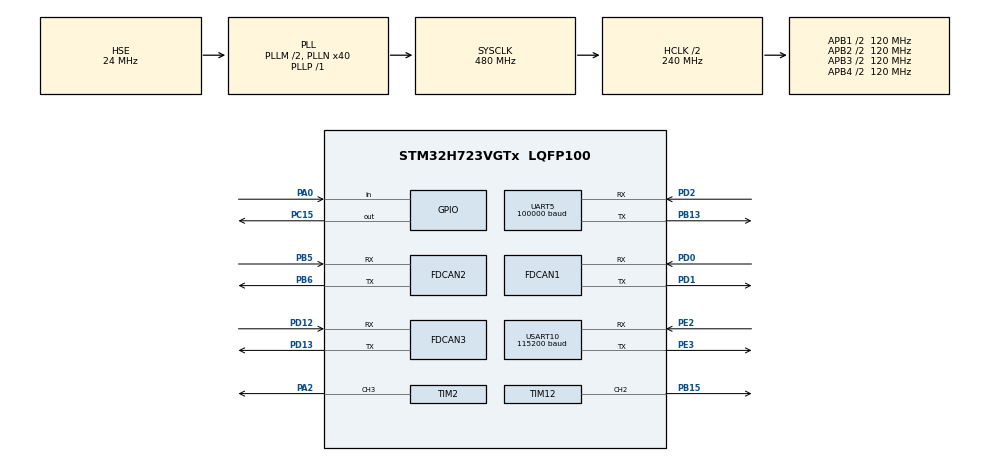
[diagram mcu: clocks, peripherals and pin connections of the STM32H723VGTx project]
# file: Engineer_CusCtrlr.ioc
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CORTEX_M7.default_mode_Activation=0
Dma.Request0=USART10_RX
Dma.Request1=USART10_TX
Dma.Request2=TIM2_CH3
Dma.Request3=UART5_RX
Dma.Request4=UART5_TX
Dma.TIM2_CH3.2.Direction=DMA_MEMORY_TO_PERIPH
Dma.TIM2_CH3.2.EventEnable=DISABLE
Dma.TIM2_CH3.2.FIFOMode=DMA_FIFOMODE_DISABLE
Dma.TIM2_CH3.2.Instance=DMA1_Stream0
Dma.TIM2_CH3.2.MemDataAlignment=DMA_MDATAALIGN_HALFWORD
Dma.TIM2_CH3.2.MemInc=DMA_MINC_ENABLE
Dma.TIM2_CH3.2.Mode=DMA_NORMAL
Dma.TIM2_CH3.2.PeriphDataAlignment=DMA_PDATAALIGN_HALFWORD
Dma.TIM2_CH3.2.PeriphInc=DMA_PINC_DISABLE
Dma.TIM2_CH3.2.Polarity=HAL_DMAMUX_REQ_GEN_RISING
Dma.TIM2_CH3.2.Priority=DMA_PRIORITY_VERY_HIGH
Dma.TIM2_CH3.2.RequestNumber=1
Dma.TIM2_CH3.2.SignalID=NONE
Dma.TIM2_CH3.2.SyncEnable=DISABLE
Dma.TIM2_CH3.2.SyncPolarity=HAL_DMAMUX_SYNC_NO_EVENT
Dma.TIM2_CH3.2.SyncRequestNumber=1
Dma.TIM2_CH3.2.SyncSignalID=NONE
Dma.UART5_RX.3.Direction=DMA_PERIPH_TO_MEMORY
Dma.UART5_RX.3.EventEnable=DISABLE
Dma.UART5_RX.3.FIFOMode=DMA_FIFOMODE_DISABLE
Dma.UART5_RX.3.Instance=DMA1_Stream1
Dma.UART5_RX.3.MemDataAlignment=DMA_MDATAALIGN_BYTE
Dma.UART5_RX.3.MemInc=DMA_MINC_ENABLE
Dma.UART5_RX.3.Mode=DMA_CIRCULAR
Dma.UART5_RX.3.PeriphDataAlignment=DMA_PDATAALIGN_BYTE
Dma.UART5_RX.3.PeriphInc=DMA_PINC_DISABLE
Dma.UART5_RX.3.Polarity=HAL_DMAMUX_REQ_GEN_RISING
Dma.UART5_RX.3.Priority=DMA_PRIORITY_HIGH
Dma.UART5_RX.3.RequestNumber=1
Dma.UART5_RX.3.SignalID=NONE
Dma.UART5_RX.3.SyncEnable=DISABLE
Dma.UART5_RX.3.SyncPolarity=HAL_DMAMUX_SYNC_NO_EVENT
Dma.UART5_RX.3.SyncRequestNumber=1
Dma.UART5_RX.3.SyncSignalID=NONE
Dma.UART5_TX.4.Direction=DMA_MEMORY_TO_PERIPH
Dma.UART5_TX.4.EventEnable=DISABLE
Dma.UART5_TX.4.FIFOMode=DMA_FIFOMODE_DISABLE
Dma.UART5_TX.4.Instance=DMA1_Stream2
Dma.UART5_TX.4.MemDataAlignment=DMA_MDATAALIGN_BYTE
Dma.UART5_TX.4.MemInc=DMA_MINC_ENABLE
Dma.UART5_TX.4.Mode=DMA_NORMAL
Dma.UART5_TX.4.PeriphDataAlignment=DMA_PDATAALIGN_BYTE
Dma.UART5_TX.4.PeriphInc=DMA_PINC_DISABLE
Dma.UART5_TX.4.Polarity=HAL_DMAMUX_REQ_GEN_RISING
Dma.UART5_TX.4.Priority=DMA_PRIORITY_HIGH
Dma.UART5_TX.4.RequestNumber=1
Dma.UART5_TX.4.SignalID=NONE
Dma.UART5_TX.4.SyncEnable=DISABLE
Dma.UART5_TX.4.SyncPolarity=HAL_DMAMUX_SYNC_NO_EVENT
Dma.UART5_TX.4.SyncRequestNumber=1
Dma.UART5_TX.4.SyncSignalID=NONE
Dma.USART10_RX.0.Direction=DMA_PERIPH_TO_MEMORY
Dma.USART10_RX.0.EventEnable=DISABLE
Dma.USART10_RX.0.FIFOMode=DMA_FIFOMODE_DISABLE
Dma.USART10_RX.0.Instance=DMA1_Stream4
Dma.USART10_RX.0.MemDataAlignment=DMA_MDATAALIGN_BYTE
Dma.USART10_RX.0.MemInc=DMA_MINC_ENABLE
Dma.USART10_RX.0.Mode=DMA_CIRCULAR
Dma.USART10_RX.0.PeriphDataAlignment=DMA_PDATAALIGN_BYTE
Dma.USART10_RX.0.PeriphInc=DMA_PINC_DISABLE
Dma.USART10_RX.0.Polarity=HAL_DMAMUX_REQ_GEN_RISING
Dma.USART10_RX.0.Priority=DMA_PRIORITY_HIGH
Dma.USART10_RX.0.RequestNumber=1
Dma.USART10_RX.0.SignalID=NONE
Dma.USART10_RX.0.SyncEnable=DISABLE
Dma.USART10_RX.0.SyncPolarity=HAL_DMAMUX_SYNC_NO_EVENT
Dma.USART10_RX.0.SyncRequestNumber=1
Dma.USART10_RX.0.SyncSignalID=NONE
Dma.USART10_TX.1.Direction=DMA_MEMORY_TO_PERIPH
Dma.USART10_TX.1.EventEnable=DISABLE
Dma.USART10_TX.1.FIFOMode=DMA_FIFOMODE_DISABLE
Dma.USART10_TX.1.Instance=DMA1_Stream3
Dma.USART10_TX.1.MemDataAlignment=DMA_MDATAALIGN_BYTE
Dma.USART10_TX.1.MemInc=DMA_MINC_ENABLE
Dma.USART10_TX.1.Mode=DMA_NORMAL
Dma.USART10_TX.1.PeriphDataAlignment=DMA_PDATAALIGN_BYTE
Dma.USART10_TX.1.PeriphInc=DMA_PINC_DISABLE
Dma.USART10_TX.1.Polarity=HAL_DMAMUX_REQ_GEN_RISING
Dma.USART10_TX.1.Priority=DMA_PRIORITY_HIGH
Dma.USART10_TX.1.RequestNumber=1
Dma.USART10_TX.1.SignalID=NONE
Dma.USART10_TX.1.SyncEnable=DISABLE
Dma.USART10_TX.1.SyncPolarity=HAL_DMAMUX_SYNC_NO_EVENT
Dma.USART10_TX.1.SyncRequestNumber=1
Dma.USART10_TX.1.SyncSignalID=NONE
FDCAN1.CalculateBaudRateNominal=1000000
FDCAN1.CalculateTimeBitNominal=1000
FDCAN1.CalculateTimeQuantumNominal=12.5
FDCAN1.DataSyncJumpWidth=2
FDCAN1.DataTimeSeg1=13
FDCAN1.DataTimeSeg2=2
FDCAN1.ExtFiltersNbr=4
FDCAN1.NominalPrescaler=1
FDCAN1.NominalSyncJumpWidth=20
FDCAN1.NominalTimeSeg1=59
FDCAN1.NominalTimeSeg2=20
FDCAN1.RxBuffersNbr=2
FDCAN1.RxFifo0ElmtsNbr=8
FDCAN1.RxFifo1ElmtsNbr=8
FDCAN1.StdFiltersNbr=4
FDCAN1.TxBuffersNbr=8
FDCAN1.TxEventsNbr=8
FDCAN1.TxFifoQueueElmtsNbr=8
FDCAN2.CalculateBaudRateNominal=1000000
FDCAN2.CalculateTimeBitNominal=1000
FDCAN2.CalculateTimeQuantumNominal=12.5
FDCAN2.DataSyncJumpWidth=2
FDCAN2.DataTimeSeg1=13
FDCAN2.ExtFiltersNbr=4
FDCAN2.MessageRAMOffset=0x406
FDCAN2.NominalPrescaler=1
FDCAN2.NominalSyncJumpWidth=20
FDCAN2.NominalTimeSeg1=59
FDCAN2.NominalTimeSeg2=20
FDCAN2.RxBuffersNbr=3
FDCAN2.RxFifo0ElmtsNbr=8
FDCAN2.RxFifo1ElmtsNbr=8
FDCAN2.StdFiltersNbr=4
FDCAN2.TxBuffersNbr=8
FDCAN2.TxEventsNbr=8
FDCAN2.TxFifoQueueElmtsNbr=8
FDCAN3.CalculateBaudRateNominal=1000000
FDCAN3.CalculateTimeBitNominal=1000
FDCAN3.CalculateTimeQuantumNominal=12.5
FDCAN3.DataSyncJumpWidth=2
FDCAN3.DataTimeSeg1=13
FDCAN3.DataTimeSeg2=2
FDCAN3.ExtFiltersNbr=4
FDCAN3.MessageRAMOffset=0x812
FDCAN3.NominalPrescaler=1
FDCAN3.NominalSyncJumpWidth=20
FDCAN3.NominalTimeSeg1=59
FDCAN3.NominalTimeSeg2=20
FDCAN3.RxBuffersNbr=2
FDCAN3.RxFifo0ElmtsNbr=8
FDCAN3.RxFifo1ElmtsNbr=8
FDCAN3.StdFiltersNbr=4
FDCAN3.TxBuffersNbr=8
FDCAN3.TxEventsNbr=8
FDCAN3.TxFifoQueueElmtsNbr=8
FREERTOS.INCLUDE_eTaskGetState=1
FREERTOS.INCLUDE_vTaskDelayUntil=1
FREERTOS.Tasks01=defaultTask,0,128,Task_Init,As weak,NULL,Dynamic,NULL,NULL
Mcu.Family=STM32H7
Mcu.Name=STM32H723VGTx
Mcu.Package=LQFP100
NVIC.DMA1_Stream0_IRQn=true\:5\:0\:false\:false\:true\:true\:false\:true\:true
NVIC.DMA1_Stream1_IRQn=true\:5\:0\:false\:false\:true\:true\:false\:true\:true
NVIC.DMA1_Stream2_IRQn=true\:5\:0\:false\:false\:true\:true\:false\:true\:true
NVIC.DMA1_Stream3_IRQn=true\:5\:0\:false\:false\:true\:true\:false\:true\:true
NVIC.DMA1_Stream4_IRQn=true\:5\:0\:false\:false\:true\:true\:false\:true\:true
NVIC.FDCAN1_IT0_IRQn=true\:5\:0\:false\:false\:true\:true\:true\:true\:true
NVIC.FDCAN1_IT1_IRQn=true\:5\:0\:false\:false\:true\:true\:true\:true\:true
NVIC.FDCAN2_IT0_IRQn=true\:5\:0\:false\:false\:true\:true\:true\:true\:true
NVIC.FDCAN2_IT1_IRQn=true\:5\:0\:false\:false\:true\:true\:true\:true\:true
NVIC.FDCAN3_IT0_IRQn=true\:5\:0\:false\:false\:true\:true\:true\:true\:true
NVIC.FDCAN3_IT1_IRQn=true\:5\:0\:false\:false\:true\:true\:true\:true\:true
NVIC.PriorityGroup=NVIC_PRIORITYGROUP_4
NVIC.TIM1_UP_IRQn=true\:0\:0\:true\:false\:true\:false\:false\:true\:true
NVIC.TimeBase=TIM1_UP_IRQn
NVIC.TimeBaseIP=TIM1
NVIC.UART5_IRQn=true\:5\:0\:false\:false\:true\:true\:true\:true\:true
NVIC.USART10_IRQn=true\:5\:0\:false\:false\:true\:true\:false\:true\:true
PA0.GPIO_PuPd=GPIO_PULLDOWN
PA0.Signal=GPIO_Input
PA13(JTMS/SWDIO).Mode=Serial_Wire
PA13(JTMS/SWDIO).Signal=DEBUG_JTMS-SWDIO
PA14(JTCK/SWCLK).Mode=Serial_Wire
PA14(JTCK/SWCLK).Signal=DEBUG_JTCK-SWCLK
PA2.GPIO_ModeDefaultPP=GPIO_MODE_AF_PP
PA2.GPIO_PuPd=GPIO_PULLUP
PA2.GPIO_Speed=GPIO_SPEED_FREQ_HIGH
PA2.Signal=S_TIM2_CH3
PB13.Mode=Asynchronous
PB13.Signal=UART5_TX
PB15.Signal=S_TIM12_CH2
PB5.Mode=FDCAN_Activate
PB5.Signal=FDCAN2_RX
PB6.Mode=FDCAN_Activate
PB6.Signal=FDCAN2_TX
PC15-OSC32_OUT.PinState=GPIO_PIN_SET
PC15-OSC32_OUT.Signal=GPIO_Output
PD0.Mode=FDCAN_Activate
PD0.Signal=FDCAN1_RX
PD1.Mode=FDCAN_Activate
PD1.Signal=FDCAN1_TX
PD12.Mode=FDCAN_Activate
PD12.Signal=FDCAN3_RX
PD13.Mode=FDCAN_Activate
PD13.Signal=FDCAN3_TX
PD2.Mode=Asynchronous
PD2.Signal=UART5_RX
PE2.Mode=Asynchronous
PE2.Signal=USART10_RX
PE3.Mode=Asynchronous
PE3.Signal=USART10_TX
PH0-OSC_IN.Mode=HSE-External-Oscillator
PH0-OSC_IN.Signal=RCC_OSC_IN
PH1-OSC_OUT.Mode=HSE-External-Oscillator
PH1-OSC_OUT.Signal=RCC_OSC_OUT
ProjectManager.HeapSize=0x200
ProjectManager.StackSize=0x400
ProjectManager.TargetToolchain=MDK-ARM V5.32
RCC.ADCFreq_Value=48375000
RCC.APB1Freq_Value=120000000
RCC.APB2Freq_Value=120000000
RCC.APB3Freq_Value=120000000
RCC.APB4Freq_Value=120000000
RCC.CortexFreq_Value=480000000
RCC.D1PPRE=RCC_APB3_DIV2
RCC.D2PPRE1=RCC_APB1_DIV2
RCC.D2PPRE2=RCC_APB2_DIV2
RCC.D3PPRE=RCC_APB4_DIV2
RCC.DIVM1=2
RCC.DIVN1=40
RCC.DIVP1=1
RCC.DIVQ1=6
RCC.HCLKFreq_Value=240000000
RCC.HPRE=RCC_HCLK_DIV2
RCC.HSE_VALUE=24000000
RCC.PLL2FRACN=0
RCC.PLL3FRACN=0
RCC.PLLFRACN=0
RCC.PLLSourceVirtual=RCC_PLLSOURCE_HSE
RCC.SYSCLKFreq_VALUE=480000000
RCC.SYSCLKSource=RCC_SYSCLKSOURCE_PLLCLK
RCC.USBFreq_Value=80000000
SH.S_TIM12_CH2.0=TIM12_CH2,PWM Generation2 CH2
SH.S_TIM2_CH3.0=TIM2_CH3,PWM Generation3 CH3
TIM12.Channel-PWM\ Generation2\ CH2=TIM_CHANNEL_2
TIM12.Period=599
TIM12.Prescaler=23
TIM2.AutoReloadPreload=TIM_AUTORELOAD_PRELOAD_DISABLE
TIM2.Channel-PWM\ Generation3\ CH3=TIM_CHANNEL_3
TIM2.ClockDivision=TIM_CLOCKDIVISION_DIV1
TIM2.Period=299
UART5.BaudRate=100000
UART5.DataInvertParam=UART_ADVFEATURE_DATAINV_ENABLE
UART5.Parity=PARITY_EVEN
USART10.BaudRate=115200
USART10.DataInvertParam=ADVFEATURE_DATAINV_DISABLE
USART10.OverrunDisableParam=ADVFEATURE_OVERRUN_DISABLE
USART10.Parity=PARITY_NONE
USART10.VirtualMode=VM_ASYNC
VP_FREERTOS_VS_CMSIS_V2.Mode=CMSIS_V2
VP_MEMORYMAP_VS_MEMORYMAP.Mode=CurAppReg
VP_SYS_VS_tim1.Mode=TIM1
VP_TIM2_VS_ClockSourceINT.Mode=Internal
board=custom

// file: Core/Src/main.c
/* USER CODE BEGIN Header */
/**
  ******************************************************************************
  * @file           : main.c
  * @brief          : Main program body
  ******************************************************************************
  * @attention
  *
  * Copyright (c) 2026 STMicroelectronics.
  * All rights reserved.
  *
  * This software is licensed under terms that can be found in the LICENSE file
  * in the root directory of this software component.
  * If no LICENSE file comes with this software, it is provided AS-IS.
  *
  ******************************************************************************
  */
/* USER CODE END Header */
#include "main.h"
#include "FreeRTOS.h"
#include "cmsis_os2.h"
#include "dma.h"
#include "fdcan.h"
#include "tim.h"
#include "usart.h"
#include "gpio.h"

/* USER CODE BEGIN Includes */
#include "DJI_Motor.h"
#include "DM_driver.h"
#include "Motor.h"
#include "PID.h"
#include "Task_Can.h"
#include "User_CAN.h"
#include "RemoteControl_Comm.h"
#include "BSP_Init.h"
#include "Debug_Uart.h"

/* USER CODE END Includes */

/* USER CODE BEGIN PV */
/*
pid_type pid = {
  .kp = 20.0f,
  .ki = 0.05f,
  .kd = 0.0f,

  .error[0] = 0.0f,
  .error[1] = 0.0f,
  .error[2] = 0.0f,
  .sum_error = 0.0f,
  .Dbuf[0] = 0.0f,
  .Dbuf[1] = 0.0f,
  .Dbuf[2] = 0.0f,

  .Pout = 0.0f,
  .Iout = 0.0f,
  .Dout = 0.0f,
  .Out = 0.0f,

  .dst = 300.0f,
  .real = 0.0f,

  .MaxIout = 1000.0f,
  .MaxOut = 3000.0f,

  .MaxBlockIount = 1000.0f,
  .DeadZone = 5

};
*/
pid_type WheelPid[4];

static const float WheelPidPara[4][3] = {
  {20.0f, 0.05f, 0.0f},   /* 左前 */
  {20.0f, 0.05f, 0.0f},   /* 左后 */
  {20.0f, 0.05f, 0.0f},   /* 右后 */
  {20.0f, 0.05f, 0.0f},   /* 右前 */
};

/* 机械安装方向：左右镜像安装时，左侧两路取 -1（也可以用 MotortypeRegister 的 REVERSE） */
const int8_t WheelSign[4] = { -1, -1, +1, +1 };
float PID1_PARA[3] = {0.1f, 0.01f, 0.0f};

uint8_t sendmessage[8] = {0};
uint8_t receivemessage[8] = {0};
int16_t out = 100;

/* USER CODE END PV */

void SystemClock_Config(void);
void MX_FREERTOS_Init(void);

int main(void)
{

  /* MCU Configuration--------------------------------------------------------*/

  /* Reset of all peripherals, Initializes the Flash interface and the Systick. */
    HAL_Init();

  /* Configure the system clock */
  SystemClock_Config();

  /* Initialize all configured peripherals */
  MX_GPIO_Init();
  MX_DMA_Init();
  MX_FDCAN1_Init();
  MX_FDCAN2_Init();
  MX_FDCAN3_Init();
  MX_USART10_UART_Init();
  MX_TIM12_Init();
  MX_TIM2_Init();
  MX_UART5_Init();
  /* USER CODE BEGIN 2 */
  BSP_Init();

  /* 调试串口：USART10 / PE3，115200 8N1，非阻塞（队列 + 最低优先级任务） */
  BSP_Init_DebugUart();

#if (DEBUG_UART_ENABLE != 0)
  /*
   * 最小验证：完全绕过队列和任务，直接在 main 里阻塞发一行。
   *   这一行能出来   => 接线 / 波特率 / USART10 初始化都正常，后面的问题在任务侧
   *   这一行也出不来 => 硬件、串口工具或烧写的问题，不用再查代码
   */
  {
    static const char bootMsg[] = "\r\n[boot] USART10 direct write OK\r\n";
    (void)HAL_UART_Transmit(&huart10, (uint8_t *)bootMsg,
                            (uint16_t)(sizeof(bootMsg) - 1U), 100U);
  }
#endif

  CAN_Init(&hfdcan1);

  for (uint8_t i = 0; i < 4; i++)
{
  /* 下标 i 必须等于 CAN ID-1：0x200 第 i 个通道 ↔ Arm_Motor[i] ↔ 电调 ID i+1 */
  MotortypeRegister(&Arm_Motor[i],
                    (WheelSign[i] > 0) ? FORWARD : REVERSE,
                    MOTOR_3508,
                    NULL,
                    NULL,
                    MOTOR3508_Reductionratio,      /* 19 */
                    (uint32_t)(i + 1U),            /* 电机 ID 1~4 */
                    1U,                            /* CAN1 */
                    0.0f, 0.0f, 0.0f,              /* Kp/Ki/Kd：3508 不用 */
                    360.0f, 0.0f);

  /* 速度环：输出限幅 16000（C620 满量程 16384），积分限幅 4000，死区 8 rpm */
  PID_Parameter_Init(&WheelPid[i], PID_POSITION, WheelPidPara[i], 16000.0f, 4000.0f, 8);
}

  /* 遥控接收：USART10 + DMA 双缓冲 + IDLE 空闲中断，必须在 MX_USART10_UART_Init() 之后 */
  BSP_Init_RemoteControl();

  /* USER CODE END 2 */

  /* Init scheduler */
  osKernelInitialize();  /* Call init function for freertos objects (in cmsis_os2.c) */
  MX_FREERTOS_Init();

  /* Start scheduler */
  osKernelStart();

  /* We should never get here as control is now taken by the scheduler */

  /* Infinite loop */
  while (1)
  {

  }
}

void SystemClock_Config(void)
{
  RCC_OscInitTypeDef RCC_OscInitStruct = {0};
  RCC_ClkInitTypeDef RCC_ClkInitStruct = {0};

  /** Supply configuration update enable
  */
  HAL_PWREx_ConfigSupply(PWR_LDO_SUPPLY);

  /** Configure the main internal regulator output voltage
  */
  __HAL_PWR_VOLTAGESCALING_CONFIG(PWR_REGULATOR_VOLTAGE_SCALE0);

  while(!__HAL_PWR_GET_FLAG(PWR_FLAG_VOSRDY)) {}

  /** Initializes the RCC Oscillators according to the specified parameters
  * in the RCC_OscInitTypeDef structure.
  */
  RCC_OscInitStruct.OscillatorType = RCC_OSCILLATORTYPE_HSE;
  RCC_OscInitStruct.HSEState = RCC_HSE_ON;
  RCC_OscInitStruct.PLL.PLLState = RCC_PLL_ON;
  RCC_OscInitStruct.PLL.PLLSource = RCC_PLLSOURCE_HSE;
  RCC_OscInitStruct.PLL.PLLM = 2;
  RCC_OscInitStruct.PLL.PLLN = 40;
  RCC_OscInitStruct.PLL.PLLP = 1;
  RCC_OscInitStruct.PLL.PLLQ = 6;
  RCC_OscInitStruct.PLL.PLLR = 2;
  RCC_OscInitStruct.PLL.PLLRGE = RCC_PLL1VCIRANGE_3;
  RCC_OscInitStruct.PLL.PLLVCOSEL = RCC_PLL1VCOWIDE;
  RCC_OscInitStruct.PLL.PLLFRACN = 0;
  if (HAL_RCC_OscConfig(&RCC_OscInitStruct) != HAL_OK)
  {
    Error_Handler();
  }

  /** Initializes the CPU, AHB and APB buses clocks
  */
  RCC_ClkInitStruct.ClockType = RCC_CLOCKTYPE_HCLK|RCC_CLOCKTYPE_SYSCLK
                              |RCC_CLOCKTYPE_PCLK1|RCC_CLOCKTYPE_PCLK2
                              |RCC_CLOCKTYPE_D3PCLK1|RCC_CLOCKTYPE_D1PCLK1;
  RCC_ClkInitStruct.SYSCLKSource = RCC_SYSCLKSOURCE_PLLCLK;
  RCC_ClkInitStruct.SYSCLKDivider = RCC_SYSCLK_DIV1;
  RCC_ClkInitStruct.AHBCLKDivider = RCC_HCLK_DIV2;
  RCC_ClkInitStruct.APB3CLKDivider = RCC_APB3_DIV2;
  RCC_ClkInitStruct.APB1CLKDivider = RCC_APB1_DIV2;
  RCC_ClkInitStruct.APB2CLKDivider = RCC_APB2_DIV2;
  RCC_ClkInitStruct.APB4CLKDivider = RCC_APB4_DIV2;

  if (HAL_RCC_ClockConfig(&RCC_ClkInitStruct, FLASH_LATENCY_3) != HAL_OK)
  {
    Error_Handler();
  }
}

void HAL_TIM_PeriodElapsedCallback(TIM_HandleTypeDef *htim)
{
  if (htim->Instance == TIM1)
  {
    HAL_IncTick();
  }
}

void Error_Handler(void)
{
  __disable_irq();
  while (1)
  {
  }
}

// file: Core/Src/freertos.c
/* USER CODE BEGIN Header */
/**
  ******************************************************************************
  * File Name          : freertos.c
  * Description        : Code for freertos applications
  ******************************************************************************
  * @attention
  *
  * Copyright (c) 2026 STMicroelectronics.
  * All rights reserved.
  *
  * This software is licensed under terms that can be found in the LICENSE file
  * in the root directory of this software component.
  * If no LICENSE file comes with this software, it is provided AS-IS.
  *
  ******************************************************************************
  */
/* USER CODE END Header */

#include "FreeRTOS.h"
#include "task.h"
#include "main.h"
#include "FreeRTOS.h"
#include "cmsis_os2.h"

/* USER CODE BEGIN Includes */
#include "Task_Can.h"     /* CANTransmit() / CanSend_Type */
#include "Motor.h"        /* Arm_Motor / motor_t / FeedbackData，内部已含 PID.h */
#include "PID.h"
#include "RemoteControl_Comm.h"        /* Pid_cal / PID_clear / pid_type */
#include "usart.h"
#include "Debug_Uart.h"    /* Debug_Printf()：调试串口 USART10 / PE3，115200 */

extern FDCAN_HandleTypeDef hfdcan1;
extern uint8_t  sendmessage[8];   /* main.c 里的全局 0x200 报文缓冲 */
extern int16_t  out;              /* main.c 里的全局电流指令 */
extern pid_type pid;
extern pid_type WheelPid[4];
extern const int8_t WheelSign[4];
/* main.c 里的全局速度环 PID */
/* USER CODE END Includes */

/* Definitions for defaultTask */
osThreadId_t defaultTaskHandle;
const osThreadAttr_t defaultTask_attributes = {
  .name = "defaultTask",
  /* 512B 对"控制环 + vsnprintf 调试输出"太紧：Debug_Printf 里有一个 96 字节
     的局部缓冲，再叠加 vsnprintf 自己的栈帧，容易踩栈。给到 2KB。 */
  .stack_size = 512 * 4,
  .priority = (osPriority_t) osPriorityNormal,
};

void Task_Init(void *argument);

void MX_FREERTOS_Init(void); /* (MISRA C 2004 rule 8.1) */

void MX_FREERTOS_Init(void) {

  /* Create the thread(s) */
  /* creation of defaultTask */
  defaultTaskHandle = osThreadNew(Task_Init, NULL, &defaultTask_attributes);

}

__weak void Task_Init(void *argument)
{
  /* USER CODE BEGIN Task_Init */

  int16_t  cur[4]        = {0};
  uint32_t LastFrame[4]  = {0};
  uint16_t LostCnt[4]    = {0};
  uint8_t  enable        = 0;
  uint8_t  rcOk          = 0;                     /* 0 = 遥控帧超时，强制停车 */
  uint8_t  lostMask      = 0;                     /* 掉线位图，bit i = Arm_Motor[i] 掉线 */
  float    vx, vy, wz;
  uint32_t wakeTick      = osKernelGetTickCount();   /* P1-1：固定周期基准 */

  (void)argument;

  for (;;)
  {
    /* ================= 0. 遥控接收观测（调试用，可删） ================= */
    RC_DebugPoll();     /* 采集 PD2 电平/边沿、清极性变更 */
    /*
     * RC_AutoScan() 已关闭：接收机链路已经确认正常（cfg=0 即原始配置就够，
     * len=18/18、frm≈71/s、bad 恒 2）。保留它会在未锁定时每秒重配一次 UART，
     * 以后带电机调试时是不必要的风险。需要再做格式扫描时把下面一行放开即可。
     */
    // RC_AutoScan();

    /* ================= 1. 读遥控 ================= */

    /*
     * 遥控丢失保护（必须要有，否则车会"失控直冲"）：
     * DBUS 是 14ms 一帧。遥控器关机 / 失联 / 信号线松了以后，RC_IRQHandler()
     * 不再进来，Remote_controler.buffer 会保持最后一帧的值 —— Get_Switch_Value
     * 依然返回 sw_up、Get_Channel_Value 依然返回最后的摇杆量，于是就按最后那个
     * 指令一直跑下去。这里连续 50 拍（2ms × 50 = 100ms，约丢 7 帧）收不到新帧
     * 就判定遥控丢失，强制停车。
     */
    {
      static uint32_t rcLastFrm = 0U;
      static uint16_t rcLostCnt = 0U;
      uint32_t rcFrm = Get_RC_FrameCount();

      if (rcFrm == rcLastFrm)
      {
        if (rcLostCnt < 0xFFFFU) rcLostCnt++;
      }
      else
      {
        rcLastFrm = rcFrm;
        rcLostCnt = 0U;
      }

      rcOk = (rcLostCnt > 50U) ? 0U : 1U;
    }

    /* 左拨码当“安全开关”：打到 UP(1) 才允许输出；遥控丢失也同样停车 */
    enable = ((Get_Switch_Value(Switch_Left) == sw_up) && (rcOk != 0U)) ? 1U : 0U;
    //enable = 1U;   /* 先不管安全开关，直接输出 */

    /* 摇杆 → 底盘三轴速度（单位：转子 rpm）
       注意 Get_Channel_Value 的“正”是右/下，所以前后要取负 */
    vx = -Get_Channel_Value(CH_LeftVert)  * 3000.0f;   /* 前后 */
    vy =  Get_Channel_Value(CH_LeftHori)  * 3000.0f;   /* 横移 */
    wz =  Get_Channel_Value(CH_RightHori) * 3000.0f;   /* 旋转 */

    /* ================= 2. 麦轮解算 ================= */
    static float Target[4];
    Target[0] = -vy + vx - wz;      /* 左前 */
    Target[1] = vy + vx - wz;      /* 左后 */
    Target[2] = -vy + vx + wz;      /* 右后 */
    Target[3] = vy + vx + wz;      /* 右前 */

    /* P0-4：调试发送已移除。原来每 2ms 用 DMA 往 USART10 发 16 字节 float，
       115200 下约 1.4ms 一帧，几乎占满周期，且不检查 HAL_BUSY 返回值。 */
    /* 如果推杆方向反了，把上面 4 行的 +/- 号按实际情况调；

       若按输出轴转速给，要乘减速比：Target[i] *= 19.0f; */

    lostMask = 0U;                  /* 本拍重新统计，交给调试串口输出 */

    for (uint8_t i = 0; i < 4; i++)
    {
      float  real   = (float)Arm_Motor[i].FeedbackData.RealSpeed;
      float  pid_out;
      uint8_t lost = 0;

      /* 掉线保护：帧计数不变就累加，超过 50 拍(100ms) 判定掉线 */
      if (Arm_Motor[i].FeedbackData.FrameCounter == LastFrame[i])
      {
        if (LostCnt[i] < 0xFFFFU) LostCnt[i]++;
      }
      else
      {
        LastFrame[i] = Arm_Motor[i].FeedbackData.FrameCounter;
        LostCnt[i]   = 0;
      }
      lost = (LostCnt[i] > 50U) ? 1U : 0U;
      if (lost != 0U) lostMask |= (uint8_t)(1U << i);

      if ((enable == 0U) || (lost != 0U))
      {
        cur[i] = 0;
        PID_clear(&WheelPid[i]);
        continue;
      }

      if (WheelSign[i] < 0) real = -real;     /* 方向统一 */

      pid_out = Pid_cal(&WheelPid[i], Target[i], real);

      /* P1-2 抗积分饱和：只回退 sum_error。
         Iout 下一拍会被 Pid_cal() 用 ki*sum_error 重新算出来，改它没有作用。 */
      if ((fabsf(pid_out) >= (WheelPid[i].MaxOut - 0.5f)) &&
          ((WheelPid[i].error[0] * pid_out) > 0.0f))
      {
        WheelPid[i].sum_error -= WheelPid[i].error[0];
      }

      if (WheelSign[i] < 0) pid_out = -pid_out;   /* 与上面取反配对 */

      cur[i] = (pid_out >= 0.0f) ? (int16_t)(pid_out + 0.5f)
                                 : (int16_t)(pid_out - 0.5f);
    }

    /* ================= 4. 打包一帧 0x200 发出去 ================= */
    for (uint8_t i = 0; i < 4; i++)
    {
      sendmessage[2U * i]      = (uint8_t)((uint16_t)cur[i] >> 8);
      sendmessage[2U * i + 1U] = (uint8_t)((uint16_t)cur[i] & 0xFFU);
    }
    CANTransmit(&hfdcan1, 0x200U, sendmessage);

    /* ================= 调试串口输出（USART10 / PE3，115200 8N1） =================
       频率/开关在 BSP/Inc/Debug_Uart.h 里：
         DEBUG_UART_ENABLE     0 = 整个调试串口模块编译掉
         DEBUG_UART_CSV_MODE   1 = 纯逗号分隔，方便 Excel / 串口示波器画图
         DEBUG_UART_PRINT_DIV  每多少控制周期一行（50 → 2ms×50 = 100ms）
    */
#if (DEBUG_UART_ENABLE != 0)
    {
      static uint8_t  dbgBoot   = 0U;
      static uint8_t  dbgPrevEn = 0xFFU;
      static uint8_t  dbgPrevLd = 0xFFU;
      static uint16_t dbgDiv    = 0U;
      static uint32_t dbgSeq    = 0U;

      if (dbgBoot == 0U)
      {
        dbgBoot = 1U;
        Debug_Printf("=== debug uart ready (USART10/PE3, 115200 8N1) ===");
        Debug_Printf("!! 未接电调：ld=0F、S/I 全 0 属正常，只看 [rc] 行");
        Debug_Printf("[rc] frm=好帧(约71/s) bad=坏帧 bi=缓冲 ndtr=DMA最小剩余"
                     " fe/ne/ore=UART错误 inv=极性 pin=电平/边沿/高电平计数");
        Debug_Printf("[rc] sw=拨码 raw=原始通道(1024=中位,364~1684) pct=百分比 en=安全开关");
      }

      /* 安全开关动作（边沿触发，不刷屏） */
      if (enable != dbgPrevEn)
      {
        dbgPrevEn = enable;
        Debug_Printf("[evt] enable=%u switchL=%u",
                     (unsigned)enable,
                     (unsigned)Get_Switch_Value(Switch_Left));
      }

      /* 遥控链路状态变化（边沿触发）：LOST 时电机会被强制停 */
      {
        static uint8_t dbgPrevRcOk = 0xFFU;
        if (rcOk != dbgPrevRcOk)
        {
          dbgPrevRcOk = rcOk;
          Debug_Printf("[evt] RC link %s",
                       (rcOk != 0U) ? "OK" : "LOST -> motors forced stop");
        }
      }

      /* 掉线位图变化 */
      if (lostMask != dbgPrevLd)
      {
        dbgPrevLd = lostMask;
        Debug_Printf("[evt] lost=0x%02X", (unsigned)lostMask);
      }

      if (++dbgDiv >= DEBUG_UART_PRINT_DIV)
      {
        dbgDiv = 0U;
        dbgSeq++;

        /* ================= 接收机自检：每 100ms 两行 =================
           判读（只看 len / bad / by 三项就够）：
             frm  成功解出的帧数，约 71 帧/秒，一直在涨 = 链路通
             bad  帧长≠18 的次数；正常只有启动那 2 次
             bi   0/1 = 正常；2 = MEMORYRESET（帧长不匹配）
             len  最近/最大帧长 —— DBUS 恒为 18/18
             by   累计字节数，应严格按 18 × 帧率 增长
             inv  RXINV 极性；pin 电平为 1（空闲高）说明极性正确
           注意：fe（帧错误计数）在 H7 上是观测假象（改校验位后数值不变），
                 已从本行去掉避免误导；ne/ore 保留。
        */
        Debug_Printf("[rc] frm=%u bad=%u bi=%u len=%u/%u ne=%u ore=%u inv=%u"
                     " by=%u pin=%u/%u/%u",
                     (unsigned)Get_RC_FrameCount(),
                     (unsigned)Get_RC_BadFrameCount(),
                     (unsigned)Get_RC_BufferIndex(),
                     (unsigned)RC_Dbg_LastLen,
                     (unsigned)RC_Dbg_MaxLen,
                     (unsigned)RC_Dbg_NeCnt,
                     (unsigned)RC_Dbg_OreCnt,
                     (unsigned)RC_Dbg_InvertMode,
                     (unsigned)RC_RxByteTotal(),
                     (unsigned)RC_Dbg_PinLevel,
                     (unsigned)RC_Dbg_PinEdges,
                     (unsigned)RC_Dbg_PinHighCnt);

        /* raw = 原始通道值（1024 = 中位，364~1684 为量程）；pct = 百分比 */
        Debug_Printf("[rc] sw=%u,%u raw=%u,%u,%u,%u,%u pct=%d,%d,%d,%d,%d en=%u",
                     (unsigned)Get_Switch_Value(Switch_Left),
                     (unsigned)Get_Switch_Value(Switch_Right),
                     (unsigned)Get_Channel_Raw(CH_RightHori),
                     (unsigned)Get_Channel_Raw(CH_RightVert),
                     (unsigned)Get_Channel_Raw(CH_LeftHori),
                     (unsigned)Get_Channel_Raw(CH_LeftVert),
                     (unsigned)Get_Channel_Raw(CH_Roll),
                     (int)(Get_Channel_Value(CH_RightHori) * 100.0f),
                     (int)(Get_Channel_Value(CH_RightVert) * 100.0f),
                     (int)(Get_Channel_Value(CH_LeftHori)  * 100.0f),
                     (int)(Get_Channel_Value(CH_LeftVert)  * 100.0f),
                     (int)(Get_Channel_Value(CH_Roll)      * 100.0f),
                     (unsigned)enable);

        /* ================= 电机 / 解算：每 500ms 一行 =================
           未接电调时 ld 恒为 0F、S 与 I 全 0，属正常现象，不影响接收机自检。
        */
        if ((dbgSeq % 5U) == 0U)
        {
#if (DEBUG_UART_CSV_MODE != 0)
          Debug_Printf("%u,%u,%u,"          /* seq en ld   */
                       "%d,%d,%d,%d,"       /* T0..T3      */
                       "%d,%d,%d,%d,"       /* S0..S3      */
                       "%d,%d,%d,%d,"       /* I0..I3      */
                       "%u",                /* drop        */
                       (unsigned)dbgSeq, (unsigned)enable, (unsigned)lostMask,
                       (int)Target[0], (int)Target[1], (int)Target[2], (int)Target[3],
                       (int)Arm_Motor[0].FeedbackData.RealSpeed,
                       (int)Arm_Motor[1].FeedbackData.RealSpeed,
                       (int)Arm_Motor[2].FeedbackData.RealSpeed,
                       (int)Arm_Motor[3].FeedbackData.RealSpeed,
                       (int)cur[0], (int)cur[1], (int)cur[2], (int)cur[3],
                       (unsigned)Debug_DroppedCount());
#else
          Debug_Printf("[mtr] seq=%u en=%u ld=%u"
                       " T %d %d %d %d"
                       " S %d %d %d %d"
                       " I %d %d %d %d"
                       " drop=%u",
                       (unsigned)dbgSeq, (unsigned)enable, (unsigned)lostMask,
                       (int)Target[0], (int)Target[1], (int)Target[2], (int)Target[3],
                       (int)Arm_Motor[0].FeedbackData.RealSpeed,
                       (int)Arm_Motor[1].FeedbackData.RealSpeed,
                       (int)Arm_Motor[2].FeedbackData.RealSpeed,
                       (int)Arm_Motor[3].FeedbackData.RealSpeed,
                       (int)cur[0], (int)cur[1], (int)cur[2], (int)cur[3],
                       (unsigned)Debug_DroppedCount());
#endif
        }
      }
    }
#endif /* DEBUG_UART_ENABLE */

    /* P1-1：固定 2 tick（500 Hz）周期；若本拍超时就重新对齐，不做补拍 */
    wakeTick += 2U;
    if ((int32_t)(wakeTick - osKernelGetTickCount()) <= 0)
    {
      wakeTick = osKernelGetTickCount() + 2U;
    }
    osDelayUntil(wakeTick);

  }
  /* USER CODE END Task_Init */
}
